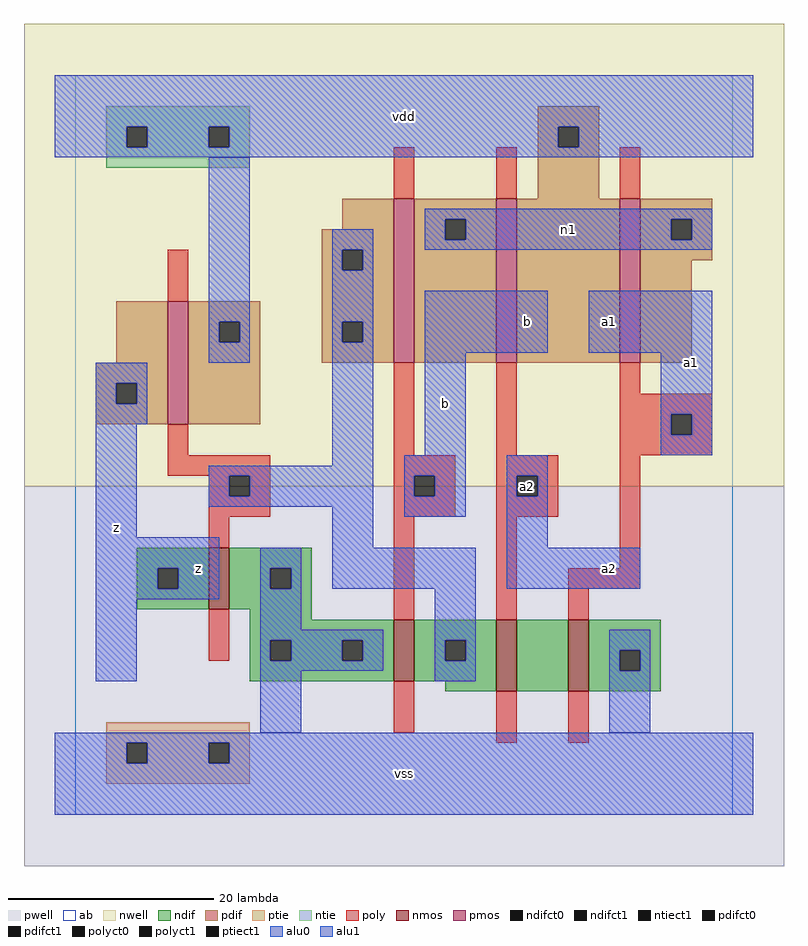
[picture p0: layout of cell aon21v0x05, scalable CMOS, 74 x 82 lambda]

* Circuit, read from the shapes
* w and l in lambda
.subckt aon21v0x05 a1 a2 b n1 vdd vss z
M1 vss n2 z vss nfet w=6 l=2
M2 n2 b vss vss nfet w=6 l=2
M3 n3 a2 n2 vss nfet w=7 l=2
M4 vss a1 n3 vss nfet w=7 l=2
M5 vdd n2 z vdd pfet w=12 l=2
M6 n1 b n2 vdd pfet w=16 l=2
M7 vdd a2 n1 vdd pfet w=16 l=2
M8 n1 a1 vdd vdd pfet w=16 l=2
.ends

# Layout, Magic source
magic
tech scmos
<< ab >>
rect 0 0 64 72
<< nwell >>
rect -5 32 69 77
<< pwell >>
rect -5 -5 69 32
<< poly >>
rect 31 60 33 65
rect 41 60 43 65
rect 53 60 55 65
rect 9 50 11 55
rect 9 35 11 38
rect 31 35 33 44
rect 41 35 43 44
rect 53 41 55 44
rect 53 39 62 41
rect 53 37 58 39
rect 60 37 62 39
rect 53 35 62 37
rect 9 33 19 35
rect 13 31 15 33
rect 17 31 19 33
rect 13 29 19 31
rect 31 33 37 35
rect 31 31 33 33
rect 35 31 37 33
rect 31 29 37 31
rect 41 33 47 35
rect 41 31 43 33
rect 45 31 47 33
rect 41 29 47 31
rect 13 26 15 29
rect 13 15 15 20
rect 31 19 33 29
rect 41 19 43 29
rect 53 24 55 35
rect 48 22 55 24
rect 48 19 50 22
rect 31 8 33 13
rect 41 7 43 12
rect 48 7 50 12
<< ndif >>
rect 6 24 13 26
rect 6 22 8 24
rect 10 22 13 24
rect 6 20 13 22
rect 15 24 23 26
rect 15 22 19 24
rect 21 22 23 24
rect 15 20 23 22
rect 17 19 23 20
rect 17 17 31 19
rect 17 15 19 17
rect 21 15 26 17
rect 28 15 31 17
rect 17 13 31 15
rect 33 17 41 19
rect 33 15 36 17
rect 38 15 41 17
rect 33 13 41 15
rect 36 12 41 13
rect 43 12 48 19
rect 50 16 57 19
rect 50 14 53 16
rect 55 14 57 16
rect 50 12 57 14
<< pdif >>
rect 45 67 51 69
rect 45 65 47 67
rect 49 65 51 67
rect 45 60 51 65
rect 26 57 31 60
rect 24 55 31 57
rect 24 53 26 55
rect 28 53 31 55
rect 4 44 9 50
rect 2 42 9 44
rect 2 40 4 42
rect 6 40 9 42
rect 2 38 9 40
rect 11 48 18 50
rect 11 46 14 48
rect 16 46 18 48
rect 11 38 18 46
rect 24 48 31 53
rect 24 46 26 48
rect 28 46 31 48
rect 24 44 31 46
rect 33 58 41 60
rect 33 56 36 58
rect 38 56 41 58
rect 33 44 41 56
rect 43 44 53 60
rect 55 58 62 60
rect 55 56 58 58
rect 60 56 62 58
rect 55 54 62 56
rect 55 44 60 54
<< alu1 >>
rect -2 67 66 72
rect -2 65 5 67
rect 7 65 13 67
rect 15 65 47 67
rect 49 65 66 67
rect -2 64 66 65
rect 2 42 7 44
rect 2 40 4 42
rect 6 40 7 42
rect 2 38 7 40
rect 2 27 6 38
rect 34 45 46 51
rect 50 45 62 51
rect 34 35 38 45
rect 57 39 62 45
rect 57 37 58 39
rect 60 37 62 39
rect 57 35 62 37
rect 2 24 14 27
rect 32 33 38 35
rect 32 31 33 33
rect 35 31 38 33
rect 32 29 38 31
rect 42 33 46 35
rect 42 31 43 33
rect 45 31 46 33
rect 42 26 46 31
rect 2 22 8 24
rect 10 22 14 24
rect 2 21 14 22
rect 42 22 55 26
rect 2 13 6 21
rect -2 7 66 8
rect -2 5 5 7
rect 7 5 13 7
rect 15 5 66 7
rect -2 0 66 5
<< ptie >>
rect 3 7 17 9
rect 3 5 5 7
rect 7 5 13 7
rect 15 5 17 7
rect 3 3 17 5
<< ntie >>
rect 3 67 17 69
rect 3 65 5 67
rect 7 65 13 67
rect 15 65 17 67
rect 3 63 17 65
<< nmos >>
rect 13 20 15 26
rect 31 13 33 19
rect 41 12 43 19
rect 48 12 50 19
<< pmos >>
rect 9 38 11 50
rect 31 44 33 60
rect 41 44 43 60
rect 53 44 55 60
<< polyct0 >>
rect 15 31 17 33
<< polyct1 >>
rect 58 37 60 39
rect 33 31 35 33
rect 43 31 45 33
<< ndifct0 >>
rect 19 22 21 24
rect 19 15 21 17
rect 26 15 28 17
rect 36 15 38 17
rect 53 14 55 16
<< ndifct1 >>
rect 8 22 10 24
<< ntiect1 >>
rect 5 65 7 67
rect 13 65 15 67
<< ptiect1 >>
rect 5 5 7 7
rect 13 5 15 7
<< pdifct0 >>
rect 26 53 28 55
rect 14 46 16 48
rect 26 46 28 48
rect 36 56 38 58
rect 58 56 60 58
<< pdifct1 >>
rect 47 65 49 67
rect 4 40 6 42
<< alu0 >>
rect 13 48 17 64
rect 34 58 62 59
rect 13 46 14 48
rect 16 46 17 48
rect 13 44 17 46
rect 25 55 29 57
rect 34 56 36 58
rect 38 56 58 58
rect 60 56 62 58
rect 34 55 62 56
rect 25 53 26 55
rect 28 53 29 55
rect 25 48 29 53
rect 25 46 26 48
rect 28 46 29 48
rect 25 34 29 46
rect 13 33 29 34
rect 13 31 15 33
rect 17 31 29 33
rect 13 30 29 31
rect 25 26 29 30
rect 18 24 22 26
rect 18 22 19 24
rect 21 22 22 24
rect 25 22 39 26
rect 18 18 22 22
rect 18 17 30 18
rect 18 15 19 17
rect 21 15 26 17
rect 28 15 30 17
rect 18 14 30 15
rect 35 17 39 22
rect 35 15 36 17
rect 38 15 39 17
rect 18 8 22 14
rect 35 13 39 15
rect 52 16 56 18
rect 52 14 53 16
rect 55 14 56 16
rect 52 8 56 14
<< labels >>
rlabel alu0 48 57 48 57 6 n1
rlabel alu1 4 28 4 28 6 z
rlabel alu1 12 24 12 24 6 z
rlabel alu1 32 4 32 4 6 vss
rlabel polyct1 44 32 44 32 6 a2
rlabel alu1 36 40 36 40 6 b
rlabel alu1 44 48 44 48 6 b
rlabel alu1 32 68 32 68 6 vdd
rlabel alu1 52 24 52 24 6 a2
rlabel alu1 52 48 52 48 6 a1
rlabel alu1 60 44 60 44 6 a1
<< end >>
